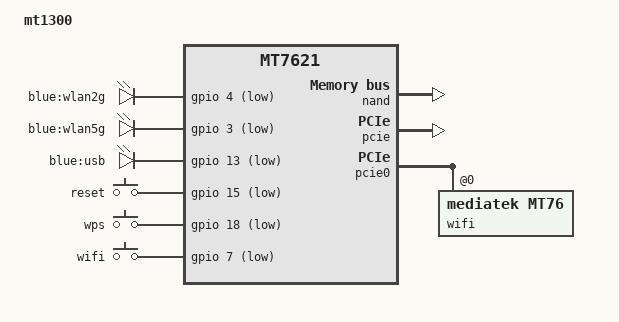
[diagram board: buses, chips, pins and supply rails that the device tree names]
// SPDX-License-Identifier: GPL-2.0-or-later OR MIT

#include "mt7621.dtsi"

#include <dt-bindings/gpio/gpio.h>
#include <dt-bindings/input/input.h>

/ {
	compatible = "raisecom,msg1500-x-00", "mediatek,mt7621-soc";
	model = "GL.iNet GL-MT1300";

	aliases {
		led-boot = &led_usb;
		led-failsafe = &led_usb;
		led-upgrade = &led_usb;
	};

	chosen {
		bootargs = "console=ttyS0,115200";
	};

	leds {
		compatible = "gpio-leds";

		wlan2g {
			label = "blue:wlan2g";
			gpios = <&gpio 4 GPIO_ACTIVE_LOW>;
			linux,default-trigger = "phy0radio";
		};

		wlan5g {
			label = "blue:wlan5g";
			gpios = <&gpio 3 GPIO_ACTIVE_LOW>;
			linux,default-trigger = "phy1radio";
		};

		led_usb: usb {
			label = "blue:usb";
			gpios = <&gpio 13 GPIO_ACTIVE_LOW>;
			trigger-sources = <&ehci_port2>;
			linux,default-trigger = "usbport";
		};
	};

	keys {
		compatible = "gpio-keys";

		reset {
			label = "reset";
			gpios = <&gpio 15 GPIO_ACTIVE_LOW>;
			linux,code = <KEY_RESTART>;
		};

		wps {
			label = "wps";
			gpios = <&gpio 18 GPIO_ACTIVE_LOW>;
			linux,code = <KEY_WPS_BUTTON>;
		};

		wifi {
			label = "wifi";
			gpios = <&gpio 7 GPIO_ACTIVE_LOW>;
			linux,code = <KEY_RFKILL>;
		};
	};
};

&nand {
	status = "okay";

	partitions {
		compatible = "fixed-partitions";
		#address-cells = <1>;
		#size-cells = <1>;

		partition@0 {
			label = "Bootloader";
			reg = <0x0 0x80000>;
		};

		partition@80000 {
			label = "Config";
			reg = <0x80000 0x80000>;
		};

		factory: partition@100000 {
			label = "Factory";
			reg = <0x100000 0x40000>;
		};

		partition@140000 {
			label = "kernel";
			reg = <0x140000 0x400000>;
		};

		partition@540000 {
			label = "ubi";
			reg = <0x540000 0x7a40000>;
		};
	};
};

&pcie {
	status = "okay";
};

&pcie0 {
	wifi@0,0 {
		compatible = "mediatek,mt76";
		reg = <0x0000 0 0 0 0>;
		mediatek,mtd-eeprom = <&factory 0x0>;
		/* 5 GHz (phy1) does not take the address from calibration data,
		   but setting it manually here works */
		nvmem-cells = <&macaddr_factory_4>;
		nvmem-cell-names = "mac-address";
	};
};

&switch0 {
	ports {
		port@0 {
			status = "okay";
			label = "lan4";
		};

		port@1 {
			status = "okay";
			label = "lan3";
		};

		port@2 {
			status = "okay";
			label = "lan2";
		};

		port@3 {
			status = "okay";
			label = "lan1";
		};

		port@4 {
			status = "okay";
			label = "wan";
		};
	};
};

gl_hw {
	compatible = "gl-hw-info";
	#address-cells = <0x1>;
	#size-cells = <0x1>;
	model = "mt1300";
	wan = "wan";
	lan = "lan1 lan2 lan3 lan4";
	reset-button = "gpio-18";
	flash_size = <0x80>;
	switch-button = "gpio-16";
	radio = "radio0";
	usb-port = "1-1";

	factory_data {
		device_mac = "Factory", "0x4000";
		device_ddns = "Factory", "0x4010";
		device_sn_bak = "Factory", "0x4020";
		device_sn = "Factory", "0x4030";
		country_code = "Factory", "0x4048";
	};
};

&state_default {
	gpio {
		groups = "i2c", "jtag", "uart3", "wdt";
		function = "gpio";
	};
};

&factory {
	compatible = "nvmem-cells";
	#address-cells = <1>;
	#size-cells = <1>;

	macaddr_factory_4: macaddr@4 {
		reg = <0x4 0x6>;
	};
};
